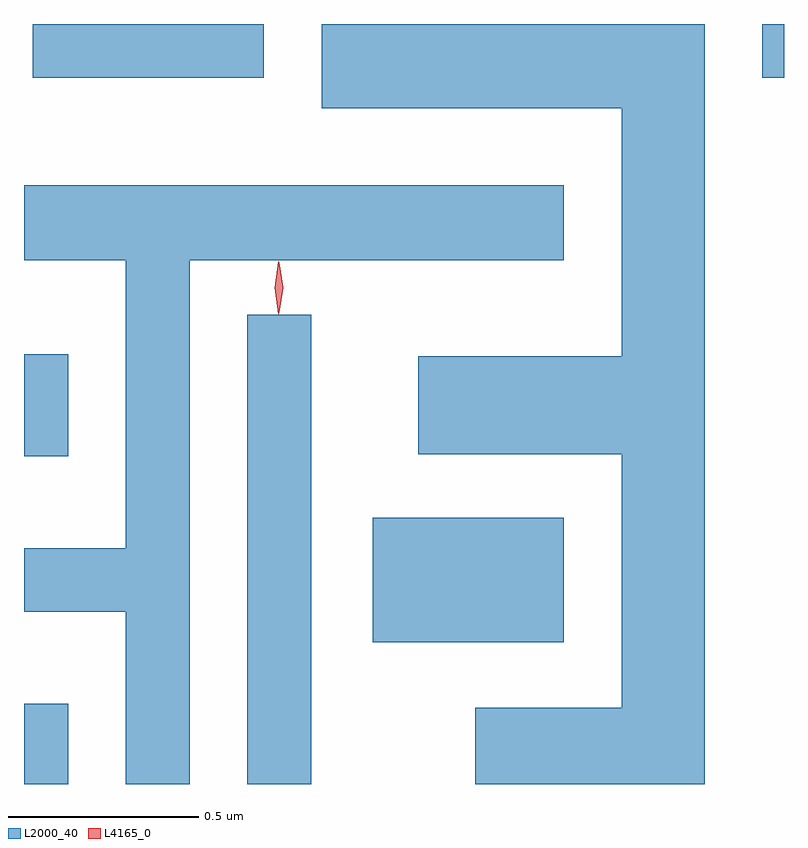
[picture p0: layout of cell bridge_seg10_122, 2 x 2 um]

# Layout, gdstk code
import gdstk
lib = gdstk.Library(unit=1e-6, precision=1e-09)
def R(c, l, rs):  # rectangles x0, y0, x1, y1
    for r in rs: c.add(gdstk.rectangle(r[:2], r[2:], *l))
def P(c, l, *ps):  # polygons
    for p in ps: c.add(gdstk.Polygon(p, *l))
L2000_40 = (2000, 40)
L4165_0 = (4165, 0)

bridge_seg10_122 = lib.new_cell('bridge_seg10_122')
R(bridge_seg10_122, L2000_40, [(1672.773,2140.938,1672.889,2141.149), (1673.361,2140.938,1673.529,2142.173), (1673.691,2141.311,1674.194,2141.639), (1672.773,2141.801,1672.889,2142.069), (1672.796,2142.796,1673.404,2142.938), (1674.716,2142.796,1674.773,2142.938)])
P(bridge_seg10_122, L2000_40, [(1674.564,2142.938),(1673.556,2142.938),(1673.556,2142.716),(1674.346,2142.716),(1674.346,2142.064),(1673.811,2142.064),(1673.811,2141.806),(1674.346,2141.806),(1674.346,2141.139),(1673.961,2141.139),(1673.961,2140.938),(1674.564,2140.938)],
  [(1673.209,2142.316),(1674.194,2142.316),(1674.194,2142.514),(1672.773,2142.514),(1672.773,2142.316),(1673.041,2142.316),(1673.041,2141.559),(1672.773,2141.559),(1672.773,2141.391),(1673.041,2141.391),(1673.041,2140.938),(1673.209,2140.938)])
P(bridge_seg10_122, L4165_0, [(1673.443,2142.174),(1673.442,2142.175),(1673.433,2142.244),(1673.442,2142.313),(1673.443,2142.314),(1673.444,2142.313),(1673.453,2142.244),(1673.444,2142.175)],
  [(1673.444,2142.178),(1673.435,2142.244),(1673.444,2142.311),(1673.445,2142.311),(1673.445,2142.311),(1673.455,2142.244),(1673.445,2142.178),(1673.445,2142.178)])

lib.write_gds('bridge_seg10_122.gds')
